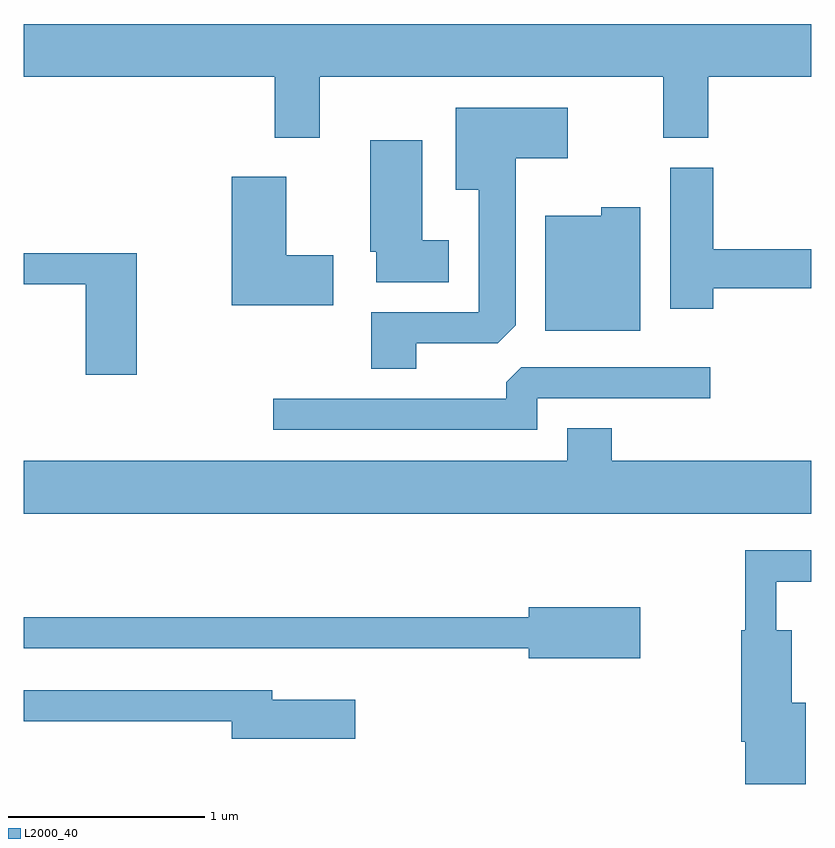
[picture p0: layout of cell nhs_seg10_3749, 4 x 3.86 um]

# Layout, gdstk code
import gdstk
lib = gdstk.Library(unit=1e-6, precision=1e-09)
def P(c, l, *ps):  # polygons
    for p in ps: c.add(gdstk.Polygon(p, *l))
L2000_40 = (2000, 40)

nhs_seg10_3749 = lib.new_cell('nhs_seg10_3749')
P(nhs_seg10_3749, L2000_40, [(297.114,2136.116),(298.861,2136.116),(298.861,2135.806),(299.089,2135.806),(299.089,2136.116),(299.611,2136.116),(299.611,2136.384),(295.611,2136.384),(295.611,2136.116),(296.886,2136.116),(296.886,2135.806),(297.114,2135.806)],
  [(297.604,2134.761),(298.019,2134.761),(298.109,2134.852),(298.109,2135.701),(298.374,2135.701),(298.374,2135.959),(297.806,2135.959),(297.806,2135.541),(297.921,2135.541),(297.921,2134.919),(297.376,2134.919),(297.376,2134.631),(297.604,2134.631)],
  [(297.769,2135.284),(297.634,2135.284),(297.634,2135.794),(297.371,2135.794),(297.371,2135.226),(297.401,2135.226),(297.401,2135.071),(297.769,2135.071)],
  [(299.114,2135.041),(299.611,2135.041),(299.611,2135.239),(299.114,2135.239),(299.114,2135.654),(298.896,2135.654),(298.896,2134.936),(299.114,2134.936)],
  [(297.184,2135.209),(296.944,2135.209),(296.944,2135.609),(296.666,2135.609),(296.666,2134.956),(297.184,2134.956)],
  [(298.744,2135.454),(298.546,2135.454),(298.546,2135.409),(298.261,2135.409),(298.261,2134.826),(298.744,2134.826)],
  [(296.184,2135.219),(295.611,2135.219),(295.611,2135.061),(295.926,2135.061),(295.926,2134.601),(296.184,2134.601)],
  [(298.219,2134.481),(299.098,2134.481),(299.098,2134.639),(298.137,2134.639),(298.061,2134.564),(298.061,2134.479),(296.878,2134.479),(296.878,2134.321),(298.219,2134.321)],
  [(299.611,2134.164),(298.599,2134.164),(298.599,2134.329),(298.371,2134.329),(298.371,2134.164),(295.611,2134.164),(295.611,2133.896),(299.611,2133.896)],
  [(299.584,2132.934),(299.514,2132.934),(299.514,2133.304),(299.434,2133.304),(299.434,2133.551),(299.611,2133.551),(299.611,2133.709),(299.276,2133.709),(299.276,2133.304),(299.256,2133.304),(299.256,2132.736),(299.276,2132.736),(299.276,2132.522),(299.584,2132.522)],
  [(298.744,2133.419),(298.176,2133.419),(298.176,2133.369),(295.611,2133.369),(295.611,2133.211),(298.176,2133.211),(298.176,2133.161),(298.744,2133.161)],
  [(297.294,2132.949),(296.874,2132.949),(296.874,2132.999),(295.611,2132.999),(295.611,2132.841),(296.666,2132.841),(296.666,2132.751),(297.294,2132.751)])

lib.write_gds('nhs_seg10_3749.gds')
